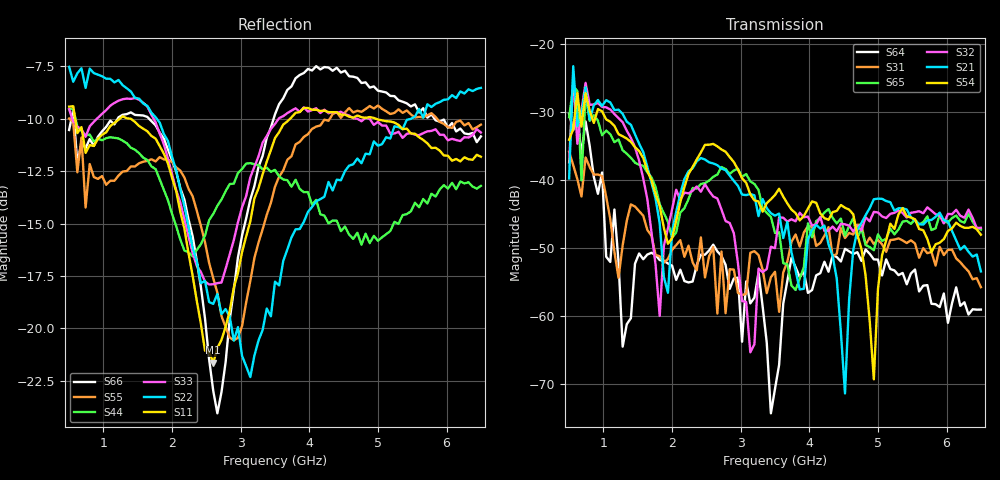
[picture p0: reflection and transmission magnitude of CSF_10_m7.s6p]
!Keysight Technologies,M9804A,MY58100912,A.14.10.03
!Date: Thursday, April 27, 2023 10:28:33
!Correction: S11(C  6-Port  )
!S12(C  6-Port  )
!S13(C  6-Port  )
!S14(C  6-Port  )
!S15(C  6-Port  )
!S16(C  6-Port  )
!S21(C  6-Port  )
!S22(C  6-Port  )
!S23(C  6-Port  )
!S24(C  6-Port  )
!S25(C  6-Port  )
!S26(C  6-Port  )
!S31(C  6-Port  )
!S32(C  6-Port  )
!S33(C  6-Port  )
!S34(C  6-Port  )
!S35(C  6-Port  )
!S36(C  6-Port  )
!S41(C  6-Port  )
!S42(C  6-Port  )
!S43(C  6-Port  )
!S44(C  6-Port  )
!S45(C  6-Port  )
!S46(C  6-Port  )
!S51(C  6-Port  )
!S52(C  6-Port  )
!S53(C  6-Port  )
!S54(C  6-Port  )
!S55(C  6-Port  )
!S56(C  6-Port  )
!S61(C  6-Port  )
!S62(C  6-Port  )
!S63(C  6-Port  )
!S64(C  6-Port  )
!S65(C  6-Port  )
!S66(C  6-Port  )
!S6P File: Measurement: :
# Hz S  RI  R 50
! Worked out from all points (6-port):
!   101 points, 500 MHz to 6.5 GHz, reference 50 ohm
!   strongest paths, dB at 500 MHz, 2 GHz, 3.5 GHz, 5 GHz, 6.5 GHz:
!     S54: -34.1, -48.6, -42.2, -56.1, -48.1
!     S21: -39.8, -47.6, -45.3, -42.8, -53.5
!     S32: -37.5, -44.4, -50.0, -44.8, -47.1
!     S65: -30.8, -48.5, -47.8, -48.0, -47.3
!     S31: -35.9, -50.3, -53.5, -48.8, -55.8
!     S64: -30.3, -52.6, -70.7, -51.7, -59.1
!   lowest |S11| = -21.6 dB at 2.6 GHz (marker M1), VSWR 1.18, Z = 42.6 + j2.07 ohm
!   |S11| at or under -10 dB: 588.1 MHz to 1.236 GHz (647.8 MHz wide, 71 % of centre); 1.4 GHz to 3.718 GHz (2.318 GHz wide, 90.6 % of centre); 4.974 GHz to end of sweep
